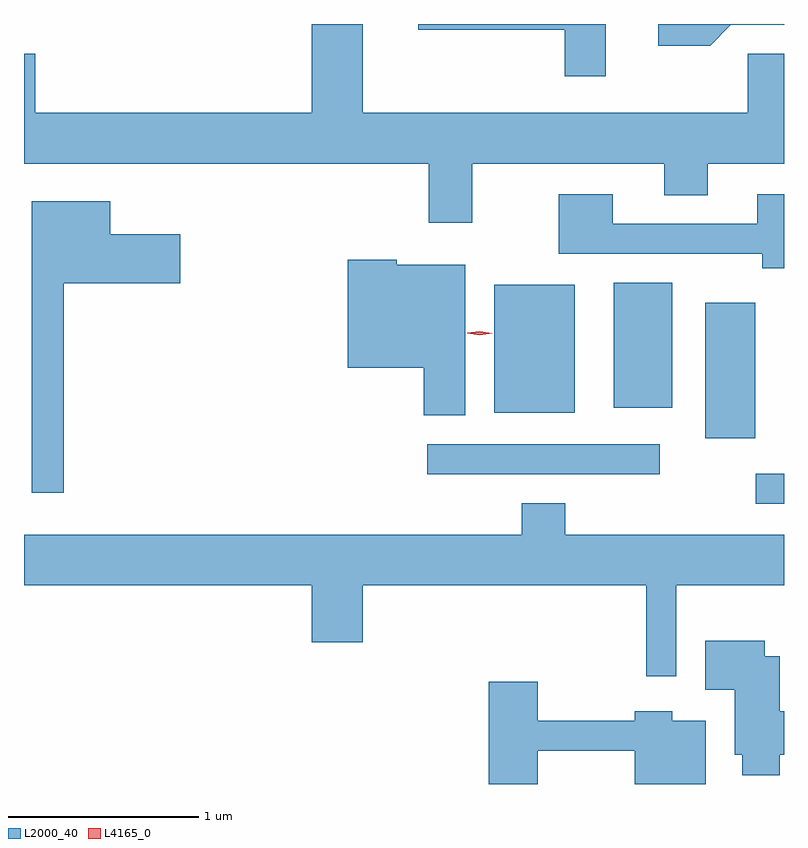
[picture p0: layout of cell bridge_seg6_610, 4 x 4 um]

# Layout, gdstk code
import gdstk
lib = gdstk.Library(unit=1e-6, precision=1e-09)
def R(c, l, rs):  # rectangles x0, y0, x1, y1
    for r in rs: c.add(gdstk.rectangle(r[:2], r[2:], *l))
def P(c, l, *ps):  # polygons
    for p in ps: c.add(gdstk.Polygon(p, *l))
L2000_40 = (2000, 40)
L4165_0 = (4165, 0)

bridge_seg6_610 = lib.new_cell('bridge_seg6_610')
R(bridge_seg6_610, L2000_40, [(237.393,1605.966,237.541,1606.124), (235.663,1606.121,236.888,1606.279), (237.126,1606.311,237.389,1607.024), (236.016,1606.446,236.439,1607.119), (236.646,1606.471,236.954,1607.129)])
P(bridge_seg6_610, L2000_40, [(235.899,1607.756),(236.911,1607.756),(236.911,1607.591),(237.139,1607.591),(237.139,1607.756),(237.541,1607.756),(237.541,1608.334),(237.351,1608.334),(237.351,1608.024),(235.324,1608.024),(235.324,1608.491),(235.056,1608.491),(235.056,1608.024),(233.599,1608.024),(233.599,1608.334),(233.541,1608.334),(233.541,1607.756),(235.671,1607.756),(235.671,1607.446),(235.899,1607.446)],
  [(236.604,1608.491),(235.616,1608.491),(235.616,1608.461),(236.386,1608.461),(236.386,1608.216),(236.604,1608.216)],
  [(237.262,1608.486),(237.541,1608.486),(237.541,1608.491),(236.878,1608.491),(236.878,1608.376),(237.152,1608.376)],
  [(237.541,1607.594),(237.401,1607.594),(237.401,1607.439),(236.639,1607.439),(236.639,1607.594),(236.356,1607.594),(236.356,1607.281),(237.426,1607.281),(237.426,1607.206),(237.541,1607.206)],
  [(233.749,1607.126),(234.364,1607.126),(234.364,1607.384),(233.994,1607.384),(233.994,1607.559),(233.581,1607.559),(233.581,1606.023),(233.749,1606.023)],
  [(235.864,1607.224),(235.504,1607.224),(235.504,1607.249),(235.246,1607.249),(235.246,1606.681),(235.646,1606.681),(235.646,1606.431),(235.864,1606.431)],
  [(236.974,1605.536),(237.541,1605.536),(237.541,1605.804),(236.389,1605.804),(236.389,1605.969),(236.161,1605.969),(236.161,1605.804),(233.541,1605.804),(233.541,1605.536),(235.056,1605.536),(235.056,1605.236),(235.324,1605.236),(235.324,1605.536),(236.816,1605.536),(236.816,1605.058),(236.974,1605.058)],
  [(237.519,1604.646),(237.541,1604.646),(237.541,1604.874),(237.519,1604.874),(237.519,1605.164),(237.439,1605.164),(237.439,1605.244),(237.126,1605.244),(237.126,1604.986),(237.281,1604.986),(237.281,1604.646),(237.321,1604.646),(237.321,1604.536),(237.519,1604.536)],
  [(236.244,1604.666),(236.756,1604.666),(236.756,1604.491),(237.129,1604.491),(237.129,1604.824),(236.954,1604.824),(236.954,1604.874),(236.756,1604.874),(236.756,1604.824),(236.244,1604.824),(236.244,1605.029),(235.986,1605.029),(235.986,1604.491),(236.244,1604.491)])
P(bridge_seg6_610, L4165_0, [(235.94,1606.854),(235.874,1606.864),(235.874,1606.865),(235.874,1606.866),(235.94,1606.874),(236.006,1606.864),(236.006,1606.864),(236.006,1606.863)])

lib.write_gds('bridge_seg6_610.gds')
